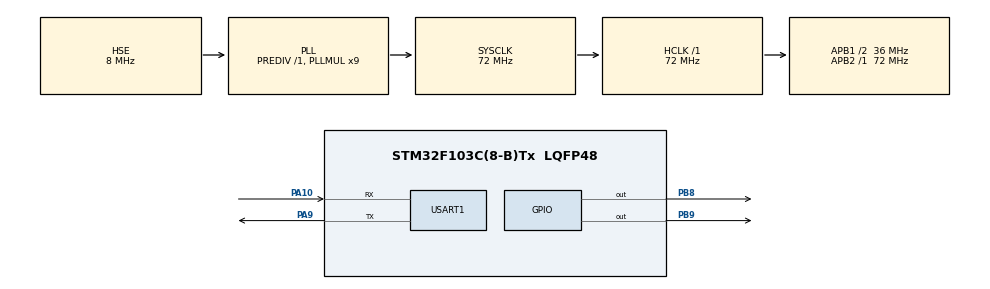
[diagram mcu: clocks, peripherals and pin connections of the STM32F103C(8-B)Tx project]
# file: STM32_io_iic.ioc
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Mcu.Family=STM32F1
Mcu.Name=STM32F103C(8-B)Tx
Mcu.Package=LQFP48
NVIC.PriorityGroup=NVIC_PRIORITYGROUP_4
PA10.Mode=Asynchronous
PA10.Signal=USART1_RX
PA13.Mode=Serial_Wire
PA13.Signal=SYS_JTMS-SWDIO
PA14.Mode=Serial_Wire
PA14.Signal=SYS_JTCK-SWCLK
PA9.Mode=Asynchronous
PA9.Signal=USART1_TX
PB8.GPIO_ModeDefaultOutputPP=GPIO_MODE_OUTPUT_OD
PB8.GPIO_PuPd=GPIO_NOPULL
PB8.GPIO_Speed=GPIO_SPEED_FREQ_HIGH
PB8.PinState=GPIO_PIN_SET
PB8.Signal=GPIO_Output
PB9.GPIO_ModeDefaultOutputPP=GPIO_MODE_OUTPUT_OD
PB9.GPIO_PuPd=GPIO_NOPULL
PB9.GPIO_Speed=GPIO_SPEED_FREQ_HIGH
PB9.PinState=GPIO_PIN_SET
PB9.Signal=GPIO_Output
PD0-OSC_IN.Mode=HSE-External-Oscillator
PD0-OSC_IN.Signal=RCC_OSC_IN
PD1-OSC_OUT.Mode=HSE-External-Oscillator
PD1-OSC_OUT.Signal=RCC_OSC_OUT
ProjectManager.HeapSize=0x200
ProjectManager.StackSize=0x400
ProjectManager.TargetToolchain=STM32CubeIDE
RCC.AHBFreq_Value=72000000
RCC.APB1CLKDivider=RCC_HCLK_DIV2
RCC.APB1Freq_Value=36000000
RCC.APB1TimFreq_Value=72000000
RCC.APB2Freq_Value=72000000
RCC.APB2TimFreq_Value=72000000
RCC.HCLKFreq_Value=72000000
RCC.PLLMUL=RCC_PLL_MUL9
RCC.PLLSourceVirtual=RCC_PLLSOURCE_HSE
RCC.SYSCLKFreq_VALUE=72000000
RCC.SYSCLKSource=RCC_SYSCLKSOURCE_PLLCLK
RCC.USBFreq_Value=72000000
TIM1.Period=0
TIM1.Prescaler=72
USART1.VirtualMode=VM_ASYNC
VP_TIM1_VS_ClockSourceINT.Mode=Internal
board=custom

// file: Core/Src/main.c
/* USER CODE BEGIN Header */
/**
  ******************************************************************************
  * @file           : main.c
  * @brief          : Main program body
  ******************************************************************************
  * @attention
  *
  * Copyright (c) 2024 STMicroelectronics.
  * All rights reserved.
  *
  * This software is licensed under terms that can be found in the LICENSE file
  * in the root directory of this software component.
  * If no LICENSE file comes with this software, it is provided AS-IS.
  *
  ******************************************************************************
  */
/* USER CODE END Header */
#include "main.h"

/* USER CODE BEGIN Includes */
#include "retarget.h"
#define SCL GPIO_PIN_8
#define SDA GPIO_PIN_9

#define BITBAND(addr, bitnum) ((addr & 0xF0000000)+0x2000000+((addr &0xFFFFF)<<5)+(bitnum<<2))
#define MEM_ADDR(addr)  *((volatile unsigned long  *)(addr))
#define BIT_ADDR(addr, bitnum)   MEM_ADDR(BITBAND(addr, bitnum))

//IO口输出寄存器地址映射
#define GPIOA_ODR_Addr    (GPIOA_BASE+12) //0x4001080C
#define GPIOB_ODR_Addr    (GPIOB_BASE+12) //0x40010C0C
#define GPIOC_ODR_Addr    (GPIOC_BASE+12) //0x4001100C
#define GPIOD_ODR_Addr    (GPIOD_BASE+12) //0x4001140C
#define GPIOE_ODR_Addr    (GPIOE_BASE+12) //0x4001180C
#define GPIOF_ODR_Addr    (GPIOF_BASE+12) //0x40011A0C
#define GPIOG_ODR_Addr    (GPIOG_BASE+12) //0x40011E0C
//IO口输入寄存器地址映射
#define GPIOA_IDR_Addr    (GPIOA_BASE+8) //0x40010808
#define GPIOB_IDR_Addr    (GPIOB_BASE+8) //0x40010C08
#define GPIOC_IDR_Addr    (GPIOC_BASE+8) //0x40011008
#define GPIOD_IDR_Addr    (GPIOD_BASE+8) //0x40011408
#define GPIOE_IDR_Addr    (GPIOE_BASE+8) //0x40011808
#define GPIOF_IDR_Addr    (GPIOF_BASE+8) //0x40011A08
#define GPIOG_IDR_Addr    (GPIOG_BASE+8) //0x40011E08

//IO口操作,只对单一的IO口!
//确保n的值为0~15
#define PAout(n)   BIT_ADDR(GPIOA_ODR_Addr,n)  //输出
#define PAin(n)    BIT_ADDR(GPIOA_IDR_Addr,n)  //输入

#define PBout(n)   BIT_ADDR(GPIOB_ODR_Addr,n)  //输出
#define PBin(n)    BIT_ADDR(GPIOB_IDR_Addr,n)  //输入

#define PCout(n)   BIT_ADDR(GPIOC_ODR_Addr,n)  //输出
#define PCin(n)    BIT_ADDR(GPIOC_IDR_Addr,n)  //输入

#define PDout(n)   BIT_ADDR(GPIOD_ODR_Addr,n)  //输出
#define PDin(n)    BIT_ADDR(GPIOD_IDR_Addr,n)  //输入

#define PEout(n)   BIT_ADDR(GPIOE_ODR_Addr,n)  //输出
#define PEin(n)    BIT_ADDR(GPIOE_IDR_Addr,n)  //输入

#define PFout(n)   BIT_ADDR(GPIOF_ODR_Addr,n)  //输出
#define PFin(n)    BIT_ADDR(GPIOF_IDR_Addr,n)  //输入

#define PGout(n)   BIT_ADDR(GPIOG_ODR_Addr,n)  //输出
#define PGin(n)    BIT_ADDR(GPIOG_IDR_Addr,n)  //输入

/* USER CODE END Includes */

TIM_HandleTypeDef htim1;

UART_HandleTypeDef huart1;

/* USER CODE BEGIN PV */
#define IIC_SCL    PBout(8) //SCL输出配置  对相应的电器属性的寄存器写值
#define IIC_SDA    PBout(9) //SDA输出配置
#define IIC_readSDA PBin(9) //SDA输入设置  由于是开漏输出  所以不用吧引脚配置为输出模式  开漏的引脚状态是由外设决定，所以可以直接读值
                            //而推挽输出引脚状态由单片机PMOS和NMOS以及上下拉电阻决定了，要配置为输入模式禁止mos管才可以读取外部状态
                            //引脚内部  上部分是TTL施密特触发器，用于读取外部电源 01 ，下部分是pmos，nmos组合 pmos打开为高，nmos打开接地  开漏只用nmos
/* USER CODE END PV */

void SystemClock_Config(void);
static void MX_GPIO_Init(void);
static void MX_USART1_UART_Init(void);
static void MX_TIM1_Init(void);
/* USER CODE BEGIN PFP */
#ifdef __GNUC__
#define PUTCHAR_PROTOTYPE int __io_putchar(int ch)
#else
#define PUTCHAR_PROTOTYPE int fputc(int ch, FILE *f)
#endif

PUTCHAR_PROTOTYPE
{
    HAL_UART_Transmit(&huart1,(uint8_t *)&ch,1,0xFFFF);//阻塞方式打印,串口1
    return ch;
}
/* USER CODE END PFP */

/* USER CODE BEGIN 0 */
void IIC_Start();
void IIC_Stop();
void IIC_Sendbyte(uint8_t txb);
uint8_t Wait_ack();
uint8_t IIC_Readbyte(unsigned char ack);
void IIC_Sendack();
void IIC_Nsendack();
void Delay_uS(uint16_t uS_Count)
{
    uint16_t counter = 0;                         /*暂存定时器的计数值*/
    __HAL_TIM_SET_AUTORELOAD(&htim1, uS_Count);   /*设置定时器自动加载值，到该值后重新计数*/
    __HAL_TIM_SET_COUNTER(&htim1, 0);             /*设置定时器初始值*/
    HAL_TIM_Base_Start(&htim1);                   /*启动定时器*/
    while(counter < uS_Count)                     /*直到定时器计数从0计数到uS_Count结束循环,刚好uS_Count uS*/
    {
        counter = __HAL_TIM_GET_COUNTER(&htim1);    /*获取定时器当前计数*/
    }
    HAL_TIM_Base_Stop(&htim1);                    /*停止定时器*/
}

/*

*/
#define	AHT20_INIT_COMD  		0xBE
void bmp280();
/* USER CODE END 0 */

int main(void)
{

  /* MCU Configuration--------------------------------------------------------*/

  /* Reset of all peripherals, Initializes the Flash interface and the Systick. */
  HAL_Init();

  /* Configure the system clock */
  SystemClock_Config();

  /* Initialize all configured peripherals */
  MX_GPIO_Init();
  MX_USART1_UART_Init();
  MX_TIM1_Init();
  /* USER CODE BEGIN 2 */
    RetargetInit(&huart1);
  /* USER CODE END 2 */

  /* Infinite loop */
  /* USER CODE BEGIN WHILE */
  while (1)
  {
      bmp280();
    /* USER CODE END WHILE */

  }
}

void SystemClock_Config(void)
{
  RCC_OscInitTypeDef RCC_OscInitStruct = {0};
  RCC_ClkInitTypeDef RCC_ClkInitStruct = {0};

  /** Initializes the RCC Oscillators according to the specified parameters
  * in the RCC_OscInitTypeDef structure.
  */
  RCC_OscInitStruct.OscillatorType = RCC_OSCILLATORTYPE_HSE;
  RCC_OscInitStruct.HSEState = RCC_HSE_ON;
  RCC_OscInitStruct.HSEPredivValue = RCC_HSE_PREDIV_DIV1;
  RCC_OscInitStruct.HSIState = RCC_HSI_ON;
  RCC_OscInitStruct.PLL.PLLState = RCC_PLL_ON;
  RCC_OscInitStruct.PLL.PLLSource = RCC_PLLSOURCE_HSE;
  RCC_OscInitStruct.PLL.PLLMUL = RCC_PLL_MUL9;
  if (HAL_RCC_OscConfig(&RCC_OscInitStruct) != HAL_OK)
  {
    Error_Handler();
  }

  /** Initializes the CPU, AHB and APB buses clocks
  */
  RCC_ClkInitStruct.ClockType = RCC_CLOCKTYPE_HCLK|RCC_CLOCKTYPE_SYSCLK
                              |RCC_CLOCKTYPE_PCLK1|RCC_CLOCKTYPE_PCLK2;
  RCC_ClkInitStruct.SYSCLKSource = RCC_SYSCLKSOURCE_PLLCLK;
  RCC_ClkInitStruct.AHBCLKDivider = RCC_SYSCLK_DIV1;
  RCC_ClkInitStruct.APB1CLKDivider = RCC_HCLK_DIV2;
  RCC_ClkInitStruct.APB2CLKDivider = RCC_HCLK_DIV1;

  if (HAL_RCC_ClockConfig(&RCC_ClkInitStruct, FLASH_LATENCY_2) != HAL_OK)
  {
    Error_Handler();
  }
}

static void MX_TIM1_Init(void)
{

  TIM_ClockConfigTypeDef sClockSourceConfig = {0};
  TIM_MasterConfigTypeDef sMasterConfig = {0};

  htim1.Instance = TIM1;
  htim1.Init.Prescaler = 72;
  htim1.Init.CounterMode = TIM_COUNTERMODE_UP;
  htim1.Init.Period = 0;
  htim1.Init.ClockDivision = TIM_CLOCKDIVISION_DIV1;
  htim1.Init.RepetitionCounter = 0;
  htim1.Init.AutoReloadPreload = TIM_AUTORELOAD_PRELOAD_DISABLE;
  if (HAL_TIM_Base_Init(&htim1) != HAL_OK)
  {
    Error_Handler();
  }
  sClockSourceConfig.ClockSource = TIM_CLOCKSOURCE_INTERNAL;
  if (HAL_TIM_ConfigClockSource(&htim1, &sClockSourceConfig) != HAL_OK)
  {
    Error_Handler();
  }
  sMasterConfig.MasterOutputTrigger = TIM_TRGO_RESET;
  sMasterConfig.MasterSlaveMode = TIM_MASTERSLAVEMODE_DISABLE;
  if (HAL_TIMEx_MasterConfigSynchronization(&htim1, &sMasterConfig) != HAL_OK)
  {
    Error_Handler();
  }

}

static void MX_USART1_UART_Init(void)
{

  huart1.Instance = USART1;
  huart1.Init.BaudRate = 115200;
  huart1.Init.WordLength = UART_WORDLENGTH_8B;
  huart1.Init.StopBits = UART_STOPBITS_1;
  huart1.Init.Parity = UART_PARITY_NONE;
  huart1.Init.Mode = UART_MODE_TX_RX;
  huart1.Init.HwFlowCtl = UART_HWCONTROL_NONE;
  huart1.Init.OverSampling = UART_OVERSAMPLING_16;
  if (HAL_UART_Init(&huart1) != HAL_OK)
  {
    Error_Handler();
  }

}

static void MX_GPIO_Init(void)
{
  GPIO_InitTypeDef GPIO_InitStruct = {0};

  /* GPIO Ports Clock Enable */
  __HAL_RCC_GPIOD_CLK_ENABLE();
  __HAL_RCC_GPIOA_CLK_ENABLE();
  __HAL_RCC_GPIOB_CLK_ENABLE();

  /*Configure GPIO pin Output Level */
  HAL_GPIO_WritePin(GPIOB, GPIO_PIN_8|GPIO_PIN_9, GPIO_PIN_SET);

  /*Configure GPIO pins : PB8 PB9 */
  GPIO_InitStruct.Pin = GPIO_PIN_8|GPIO_PIN_9;
  GPIO_InitStruct.Mode = GPIO_MODE_OUTPUT_OD;
  GPIO_InitStruct.Pull = GPIO_NOPULL;
  GPIO_InitStruct.Speed = GPIO_SPEED_FREQ_HIGH;
  HAL_GPIO_Init(GPIOB, &GPIO_InitStruct);

}

/* USER CODE BEGIN 4 */
/*IIC开始信号
 * 当SCL为高时 SDA跳变为低
 *
 */
void IIC_Start()
{
    IIC_SDA=1;
    Delay_uS(5);
    IIC_SCL=1;
    //修改了Delay_uS(数  此时延时单位us
    Delay_uS(5);
    IIC_SDA=0;
    Delay_uS(5);   //开始信号
    IIC_SCL=0;            //SCL拉低可以传输信号
}
/*IIC停止信号
 * 当SCL为高时 SDA跳变为高
 *因为正常传输信号是SCL为高时SDA都是保持,所以开始结束SDA在此跳变可以区分
 *要保证SCL为高是SDA先是低再是高，我们不能再SCL为高时改变，不然我们直接先把SDA拉低可能就是开始信号了
 *所以先把SCL，SDA拉低，再把SCL拉高，这样SCL高的时候SDA初始状态就是低，此时再拉高
 */
void IIC_Stop()
{
    IIC_SCL=0;
    IIC_SDA=0;
    Delay_uS(4);
    IIC_SCL=1;
    Delay_uS(2);
    IIC_SDA=1;
    Delay_uS(4);
}

/*等待应答
 *
 *
 */
uint8_t Wait_ack()
{
    uint8_t count=0;   //滤波系数  防止电平跳变的影响
    IIC_SDA=1;       //不用SDA时都要为高阻态，只有传输信号的设备SDA可以拉低，因为是开漏，所以SDA整条线都会拉低,因此一次只能有一个设备发送消息
    Delay_uS(1);
    IIC_SCL=1;       //读数据
    Delay_uS(1);
    while(IIC_SDA)
    {
        count++;
        if(count>250)       //一直没应答
        {
            IIC_Stop();
            return 1;
        }
    }
    IIC_SCL=0;  //继续接收
    return 0;
}

/*发送数据
 *
 */
void IIC_Sendbyte(uint8_t txb)
{
    uint8_t i;
    IIC_SCL=0;
    for(i=0;i<8;i++)
    {
        IIC_SDA=(txb&0x80)>>7;      //iic从最高位开始传输，取最高位再移动到第一位给SDA赋值
        txb<<=1;
    }
}

/*
 * 接受数据
 * ack为1发送应答
 * ack为0不应答
 */
uint8_t IIC_Readbyte(unsigned char ack)
{
    uint8_t rebyte,i;
    rebyte=0;
    for(i=0;i<8;i++)
    {
        IIC_SCL=0;
        Delay_uS(2);    //一般iic传输速率100kb，差不多1.25us  高速400kb
        IIC_SCL=1;
        rebyte<<=1;
        rebyte|=IIC_SDA;
        Delay_uS(1);
        if(ack)
        {
            IIC_Sendack();
        }
        else
        {
            IIC_Nsendack();
        }
    }
    return rebyte;
}

/*
 *
 */
void IIC_Sendack()
{
    IIC_SCL=0;
    IIC_SDA=0;                  //拉高SDA产生非应答信号
    Delay_uS(4);
    IIC_SCL=1;
    Delay_uS(4);         //完成应答
    IIC_SCL=0;                  //等待下次信号
}
void IIC_Nsendack()
{
    IIC_SCL=0;
    IIC_SDA=1;                  //拉高SDA产生非应答信号
    Delay_uS(4);
    IIC_SCL=1;
    Delay_uS(4);         //完成应答
    IIC_SCL=0;                  //等待下次信号
}

void bmp280()
{
    uint8_t readb;
    for(int i=0;i<10;i++)
    Delay_uS(41);
    IIC_Start();
    IIC_Sendbyte(0x71);
    Wait_ack();
    readb=IIC_Readbyte(1);
    IIC_Sendbyte(0X70);
    Wait_ack();
    IIC_Sendbyte(AHT20_INIT_COMD );
    Wait_ack();
    HAL_Delay(10);
    readb=IIC_Readbyte(1);
    printf("%x%x",readb,IIC_Readbyte(1));

}
/* USER CODE END 4 */

void Error_Handler(void)
{
  __disable_irq();
  while (1)
  {
  }
}
